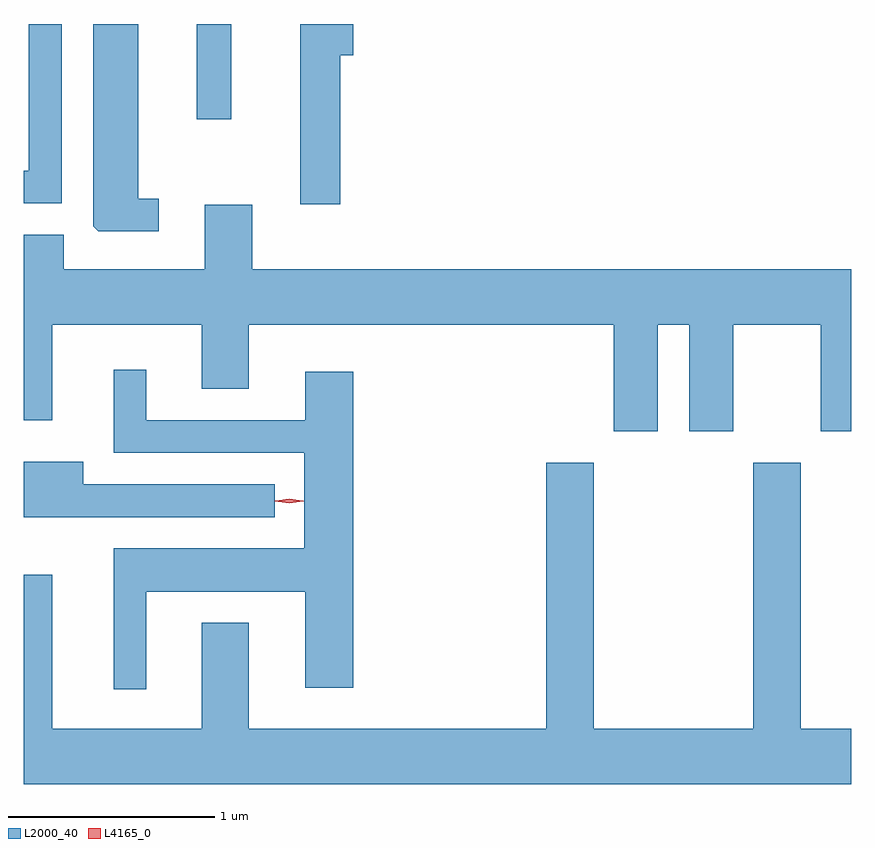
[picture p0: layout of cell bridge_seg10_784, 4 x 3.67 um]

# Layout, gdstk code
import gdstk
lib = gdstk.Library(unit=1e-6, precision=1e-09)
def R(c, l, rs):  # rectangles x0, y0, x1, y1
    for r in rs: c.add(gdstk.rectangle(r[:2], r[2:], *l))
def P(c, l, *ps):  # polygons
    for p in ps: c.add(gdstk.Polygon(p, *l))
L2000_40 = (2000, 40)
L4165_0 = (4165, 0)

bridge_seg10_784 = lib.new_cell('bridge_seg10_784')
R(bridge_seg10_784, L2000_40, [(583.256,2090.488,583.424,2090.948)])
P(bridge_seg10_784, L2000_40, [(583.073,2090.104),(582.974,2090.104),(582.974,2090.948),(582.756,2090.948),(582.756,2089.972),(582.782,2089.946),(583.073,2089.946)],
  [(583.949,2090.796),(584.014,2090.796),(584.014,2090.948),(583.756,2090.948),(583.756,2090.076),(583.949,2090.076)],
  [(582.604,2090.948),(582.446,2090.948),(582.446,2090.239),(582.42,2090.239),(582.42,2090.081),(582.604,2090.081)],
  [(585.484,2089.496),(585.636,2089.496),(585.636,2088.981),(585.849,2088.981),(585.849,2089.496),(586.271,2089.496),(586.271,2088.981),(586.42,2088.981),(586.42,2089.764),(583.524,2089.764),(583.524,2090.074),(583.296,2090.074),(583.296,2089.764),(582.614,2089.764),(582.614,2089.929),(582.42,2089.929),(582.42,2089.033),(582.559,2089.033),(582.559,2089.496),(583.281,2089.496),(583.281,2089.186),(583.509,2089.186),(583.509,2089.496),(585.271,2089.496),(585.271,2088.981),(585.484,2088.981)],
  [(583.014,2088.206),(583.781,2088.206),(583.781,2087.741),(584.014,2087.741),(584.014,2089.269),(583.781,2089.269),(583.781,2089.034),(583.014,2089.034),(583.014,2089.278),(582.856,2089.278),(582.856,2088.876),(583.776,2088.876),(583.776,2088.414),(582.856,2088.414),(582.856,2087.733),(583.014,2087.733)],
  [(583.633,2088.724),(582.709,2088.724),(582.709,2088.834),(582.42,2088.834),(582.42,2088.566),(583.633,2088.566)],
  [(586.42,2087.544),(586.174,2087.544),(586.174,2088.829),(585.946,2088.829),(585.946,2087.544),(585.174,2087.544),(585.174,2088.829),(584.946,2088.829),(584.946,2087.544),(583.509,2087.544),(583.509,2088.054),(583.281,2088.054),(583.281,2087.544),(582.559,2087.544),(582.559,2088.288),(582.42,2088.288),(582.42,2087.276),(586.42,2087.276)])
P(bridge_seg10_784, L4165_0, [(583.703,2088.635),(583.638,2088.644),(583.637,2088.645),(583.638,2088.645),(583.703,2088.655),(583.769,2088.645),(583.769,2088.645),(583.769,2088.644)],
  [(583.703,2088.633),(583.634,2088.642),(583.634,2088.643),(583.634,2088.644),(583.703,2088.653),(583.772,2088.644),(583.773,2088.643),(583.772,2088.642)])

lib.write_gds('bridge_seg10_784.gds')
